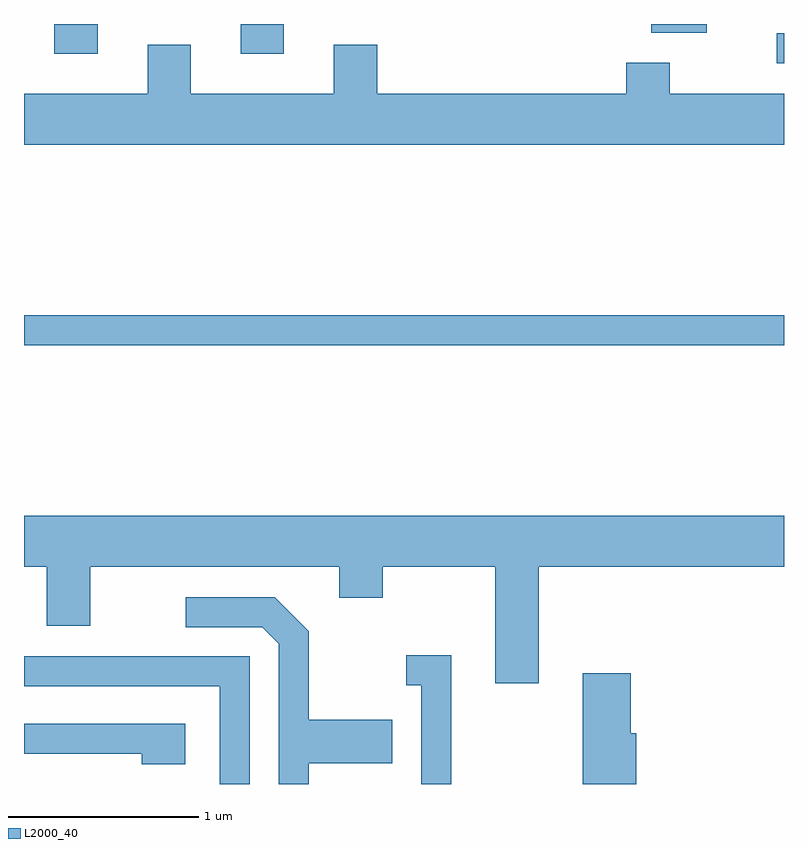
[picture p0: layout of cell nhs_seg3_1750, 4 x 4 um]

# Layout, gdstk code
import gdstk
lib = gdstk.Library(unit=1e-6, precision=1e-09)
def R(c, l, rs):  # rectangles x0, y0, x1, y1
    for r in rs: c.add(gdstk.rectangle(r[:2], r[2:], *l))
def P(c, l, *ps):  # polygons
    for p in ps: c.add(gdstk.Polygon(p, *l))
L2000_40 = (2000, 40)

nhs_seg3_1750 = lib.new_cell('nhs_seg3_1750')
R(nhs_seg3_1750, L2000_40, [(235.611,1218.201,239.611,1218.359), (239.573,1219.686,239.611,1219.844), (235.771,1219.736,235.999,1219.892), (236.751,1219.736,236.979,1219.892), (238.911,1219.846,239.204,1219.892)])
P(nhs_seg3_1750, L2000_40, [(239.611,1219.524),(239.009,1219.524),(239.009,1219.689),(238.781,1219.689),(238.781,1219.524),(237.469,1219.524),(237.469,1219.784),(237.241,1219.784),(237.241,1219.524),(236.489,1219.524),(236.489,1219.784),(236.261,1219.784),(236.261,1219.524),(235.611,1219.524),(235.611,1219.256),(239.611,1219.256)],
  [(238.319,1217.036),(239.611,1217.036),(239.611,1217.304),(235.611,1217.304),(235.611,1217.036),(235.731,1217.036),(235.731,1216.726),(235.959,1216.726),(235.959,1217.036),(237.271,1217.036),(237.271,1216.871),(237.499,1216.871),(237.499,1217.036),(238.091,1217.036),(238.091,1216.421),(238.319,1216.421)],
  [(237.109,1216.001),(237.549,1216.001),(237.549,1216.229),(237.109,1216.229),(237.109,1216.697),(236.932,1216.874),(236.463,1216.874),(236.463,1216.716),(236.864,1216.716),(236.951,1216.629),(236.951,1215.892),(237.109,1215.892)],
  [(237.859,1216.569),(237.623,1216.569),(237.623,1216.411),(237.701,1216.411),(237.701,1215.892),(237.859,1215.892)],
  [(236.799,1216.564),(235.611,1216.564),(235.611,1216.406),(236.641,1216.406),(236.641,1215.892),(236.799,1215.892)],
  [(238.834,1216.159),(238.804,1216.159),(238.804,1216.474),(238.551,1216.474),(238.551,1215.892),(238.834,1215.892)],
  [(236.459,1216.209),(235.611,1216.209),(235.611,1216.051),(236.231,1216.051),(236.231,1215.996),(236.459,1215.996)])

lib.write_gds('nhs_seg3_1750.gds')
